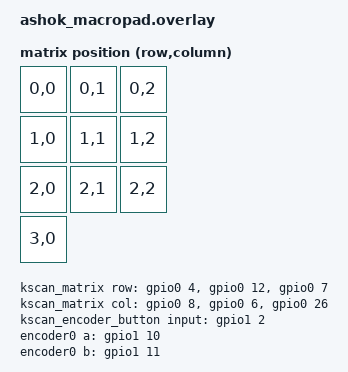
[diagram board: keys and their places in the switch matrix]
#include <dt-bindings/zmk/matrix_transform.h>
#include <zephyr/dt-bindings/gpio/gpio.h>
#include <dt-bindings/led/led.h>
#include <zephyr/dt-bindings/i2c/i2c.h>

/ {
    chosen {
        zmk,kscan = &kscan_composite;
        zmk,matrix-transform = &default_transform;
        zmk,underglow = &led_strip;
        zmk,display = &oled;
    };

    default_transform: keymap_transform_0 {
        compatible = "zmk,matrix-transform";
        columns = <3>;
        rows = <4>;
        map = <
            RC(0,0) RC(0,1) RC(0,2)
            RC(1,0) RC(1,1) RC(1,2)
            RC(2,0) RC(2,1) RC(2,2)
            RC(3,0)
        >;
    };

    kscan_composite: kscan_composite {
        compatible = "zmk,kscan-composite";
        rows = <4>;
        columns = <3>;

        matrix {
            kscan = <&kscan_matrix>;
        };

        direct {
            kscan = <&kscan_encoder_button>;
            row-offset = <3>;
        };
    };

    kscan_matrix: kscan_matrix {
        compatible = "zmk,kscan-gpio-matrix";
        diode-direction = "col2row";

        col-gpios = 
            <&gpio0 8  GPIO_ACTIVE_HIGH>,   /* COL1: P0.08 */
            <&gpio0 6  GPIO_ACTIVE_HIGH>,   /* COL2: P0.06 */
            <&gpio0 26 GPIO_ACTIVE_HIGH>;   /* COL3: P0.26 */

        row-gpios = 
            <&gpio0 4  (GPIO_ACTIVE_HIGH | GPIO_PULL_DOWN)>,  /* ROW1: P0.04 */
            <&gpio0 12 (GPIO_ACTIVE_HIGH | GPIO_PULL_DOWN)>,  /* ROW2: P0.12 */
            <&gpio0 7  (GPIO_ACTIVE_HIGH | GPIO_PULL_DOWN)>;  /* ROW3: P0.07 */

        debounce-press-ms = <1>;
        debounce-release-ms = <5>;
    };

    kscan_encoder_button: kscan_encoder_button {
        compatible = "zmk,kscan-gpio-direct";
        input-gpios = <&gpio1 2 (GPIO_ACTIVE_LOW | GPIO_PULL_UP)>;
    };

    encoder0: encoder_0 {
        compatible = "alps,ec11";
        a-gpios = <&gpio1 10 (GPIO_ACTIVE_LOW | GPIO_PULL_UP)>;
        b-gpios = <&gpio1 11 (GPIO_ACTIVE_LOW | GPIO_PULL_UP)>;
        steps = <32>;
        status = "okay";
    };

    sensors {
        compatible = "zmk,keymap-sensors";
        sensors = <&encoder0>;
    };
};

&pinctrl {
    spi3_default: spi3_default {
        group1 {
            psels = <NRF_PSEL(SPIM_MOSI, 1, 9)>; /* P1.09 - Your LED data pin */
        };
    };

    spi3_sleep: spi3_sleep {
        group1 {
            psels = <NRF_PSEL(SPIM_MOSI, 1, 9)>; /* P1.09 - Your LED data pin */
            low-power-enable;
        };
    };

    i2c0_default: i2c0_default {
        group1 {
            psels = <NRF_PSEL(TWIM_SDA, 0, 24)>,   /* P0.24 - SDA */
                    <NRF_PSEL(TWIM_SCL, 0, 13)>;   /* P0.13 - SCL */
        };
    };

    i2c0_sleep: i2c0_sleep {
        group1 {
            psels = <NRF_PSEL(TWIM_SDA, 0, 24)>,   /* P0.24 - SDA */
                    <NRF_PSEL(TWIM_SCL, 0, 13)>;   /* P0.13 - SCL */
            low-power-enable;
        };
    };
};

&spi3 {
    compatible = "nordic,nrf-spim";
    status = "okay";

    pinctrl-0 = <&spi3_default>;
    pinctrl-1 = <&spi3_sleep>;
    pinctrl-names = "default", "sleep";

    led_strip: ws2812@0 {
        compatible = "worldsemi,ws2812-spi";

        /* SPI */
        reg = <0>;
        spi-max-frequency = <4000000>;

        /* WS2812 */
        chain-length = <9>; /* 9 LEDs for 3x3 grid */
        spi-one-frame = <0x70>;
        spi-zero-frame = <0x40>;
        color-mapping = <LED_COLOR_ID_GREEN LED_COLOR_ID_RED LED_COLOR_ID_BLUE>;
    };
};

&i2c0 {
    compatible = "nordic,nrf-twim";
    status = "okay";
    
    pinctrl-0 = <&i2c0_default>;
    pinctrl-1 = <&i2c0_sleep>;
    pinctrl-names = "default", "sleep";
    
    clock-frequency = <I2C_BITRATE_FAST>;

    oled: ssd1306@3c {
        compatible = "solomon,ssd1306fb";
        reg = <0x3c>;
        width = <128>;
        height = <32>;
        segment-offset = <0>;
        page-offset = <0>;
        display-offset = <0>;
        multiplex-ratio = <31>;
        segment-remap;
        com-invdir;
        prechargep = <0x22>;
    };
};
